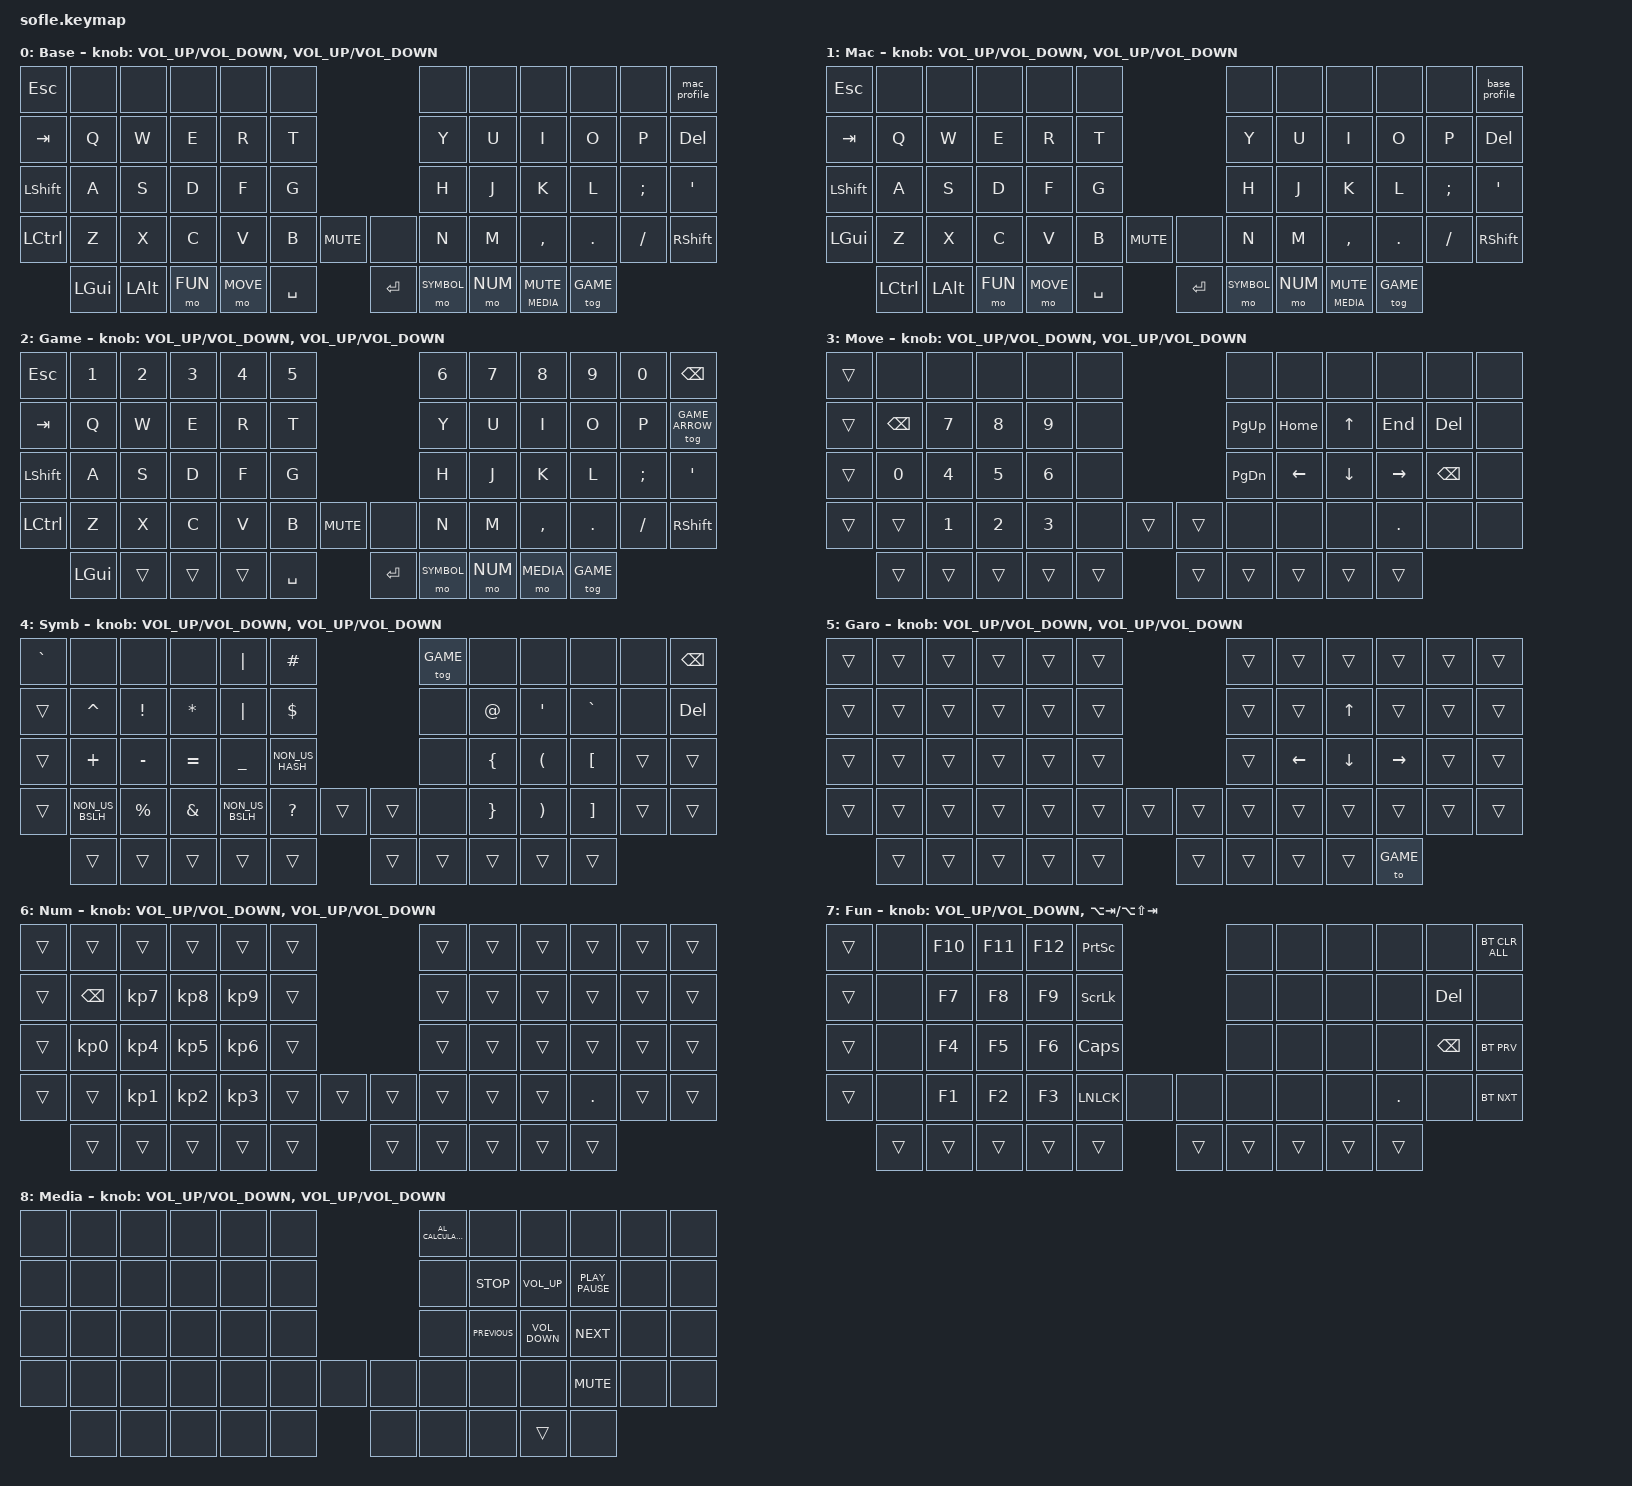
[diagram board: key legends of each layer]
/*
 * Copyright (c) 2020 The ZMK Contributors
 *
 * SPDX-License-Identifier: MIT
 */

#include <behaviors.dtsi>
#include <dt-bindings/zmk/keys.h>
#include <dt-bindings/zmk/bt.h>
#include <dt-bindings/zmk/rgb.h>
#include <dt-bindings/zmk/ext_power.h>

#define QWERTY     0
#define MAC        1
#define GAME       2
#define MOVE       3
#define SYMBOL     4
#define GAME_ARROW 5
#define NUM        6
#define FUN        7
#define MEDIA      8

/ {
    macros {
        mac_profile: mac_profile {
            compatible = "zmk,behavior-macro";
            #binding-cells = <0>;
            bindings
                = <&macro_tap &bt BT_SEL 1>
                , <&macro_tap &to MAC>
                ;
        };

        base_profile: base_profile {
            compatible = "zmk,behavior-macro";
            #binding-cells = <0>;
            bindings
                = <&macro_tap &bt BT_SEL 0>
                , <&macro_tap &to QWERTY>
                ;
        };
    };
};

&lt { tapping-term-ms = <50>; };


&nice_view_spi { cs-gpios = <&pro_micro 4 GPIO_ACTIVE_HIGH>; };

/ {
    combos {
        compatible = "zmk,combos";

        combo_ui {
            timeout-ms = <50>;
            key-positions = <19 20>;
            bindings = <&kp LG(GRAVE)>;
        };

        combo_df {
            timeout-ms = <50>;
            key-positions = <27 28>;
            bindings = <&kp RET>;
        };

        combo_jk {
            timeout-ms = <50>;
            key-positions = <31 32>;
            bindings = <&kp BSPC>;
        };

        combo_l_semi {
            timeout-ms = <50>;
            key-positions = <33 34>;
            bindings = <&kp DEL>;
        };
    };

    keymap {
        compatible = "zmk,keymap";

        qwerty_layer {
            display-name = "Base";
            bindings = <
&kp ESC    &none  &none     &none     &none           &none                                    &none       &none    &none             &none      &none     &mac_profile
&kp TAB    &kp Q  &kp W     &kp E     &kp R           &kp T                                    &kp Y       &kp U    &kp I             &kp O      &kp P     &kp DEL
&kp LSHFT  &kp A  &kp S     &kp D     &kp F           &kp G                                    &kp H       &kp J    &kp K             &kp L      &kp SEMI  &kp SQT
&kp LCTRL  &kp Z   &kp X     &kp C     &kp V           &kp B             &kp C_MUTE    &none    &kp N       &kp M    &kp COMMA         &kp DOT    &kp FSLH  &kp RSHFT
            &kp LGUI  &kp LALT  &mo FUN         &mo MOVE                  &kp SPACE     &kp RET  &mo SYMBOL  &mo NUM  &lt MEDIA K_MUTE  &tog GAME
            >;

            sensor-bindings =
                <&inc_dec_kp K_VOLUME_UP K_VOLUME_DOWN>,
                <&inc_dec_kp K_VOLUME_UP K_VOLUME_DOWN>;
        };

            mac_layer {
                display-name = "Mac";
                bindings = <
        &kp ESC    &none  &none     &none     &none           &none                                    &none       &none    &none             &none      &none     &base_profile
        &kp TAB    &kp Q  &kp W     &kp E     &kp R           &kp T                                    &kp Y       &kp U    &kp I             &kp O      &kp P     &kp DEL
        &kp LSHFT  &kp A  &kp S     &kp D     &kp F           &kp G                                    &kp H       &kp J    &kp K             &kp L      &kp SEMI  &kp SQT
        &kp LGUI   &kp Z  &kp X     &kp C     &kp V           &kp B             &kp C_MUTE    &none    &kp N       &kp M    &kp COMMA         &kp DOT    &kp FSLH  &kp RSHFT
                  &kp LCTRL &kp LALT  &mo FUN        &mo MOVE                 &kp SPACE     &kp RET  &mo SYMBOL  &mo NUM  &lt MEDIA K_MUTE  &tog GAME
                >;

                sensor-bindings =
                <&inc_dec_kp K_VOLUME_UP K_VOLUME_DOWN>,
                <&inc_dec_kp K_VOLUME_UP K_VOLUME_DOWN>;
            };

        game_layer {
            display-name = "Game";
            bindings = <
&kp ESC    &kp N1  &kp N2    &kp N3  &kp N4  &kp N5                         &kp N6      &kp N7   &kp N8     &kp N9     &kp N0    &kp BSPC
&kp TAB    &kp Q   &kp W     &kp E   &kp R   &kp T                          &kp Y       &kp U    &kp I      &kp O      &kp P     &tog GAME_ARROW
&kp LSHFT  &kp A   &kp S     &kp D   &kp F   &kp G                          &kp H       &kp J    &kp K      &kp L      &kp SEMI  &kp SQT
&kp LCTRL  &kp Z   &kp X     &kp C   &kp V   &kp B   &kp C_MUTE    &none    &kp N       &kp M    &kp COMMA  &kp DOT    &kp FSLH  &kp RSHFT
                   &kp LGUI  &trans  &trans  &trans  &kp SPACE     &kp RET  &mo SYMBOL  &mo NUM  &mo MEDIA  &tog GAME
            >;

            sensor-bindings =
                <&inc_dec_kp K_VOLUME_UP K_VOLUME_DOWN>,
                <&inc_dec_kp K_VOLUME_UP K_VOLUME_DOWN>;
        };

        move_layer {
            display-name = "Move";
            bindings = <
&trans  &none     &none   &none   &none   &none                     &none      &none     &none     &none      &none     &none
&trans  &kp BSPC  &kp N7  &kp N8  &kp N9  &none                     &kp PG_UP  &kp HOME  &kp UP    &kp END    &kp DEL   &none
&trans  &kp N0    &kp N4  &kp N5  &kp N6  &none                     &kp PG_DN  &kp LEFT  &kp DOWN  &kp RIGHT  &kp BSPC  &none
&trans  &trans    &kp N1  &kp N2  &kp N3  &none   &trans    &trans  &none      &none     &none     &kp DOT    &none     &none
                  &trans  &trans  &trans  &trans  &trans    &trans  &trans     &trans    &trans    &trans
            >;

            sensor-bindings =
                <&inc_dec_kp K_VOLUME_UP K_VOLUME_DOWN>,
                <&inc_dec_kp K_VOLUME_UP K_VOLUME_DOWN>;
        };

        symbol_layer {
            display-name = "Symb";
            bindings = <
&kp GRAVE  &none            &none      &none      &kp PIPE         &kp POUND                          &tog GAME  &none     &none     &none      &none   &kp BSPC
&trans     &kp CARET        &kp EXCL   &kp ASTRK  &kp PIPE         &kp DLLR                           &none      &kp AT    &kp SQT   &kp GRAVE  &none   &kp DEL
&trans     &kp PLUS         &kp MINUS  &kp EQUAL  &kp UNDER        &kp NON_US_HASH                    &none      &kp LBRC  &kp LPAR  &kp LBKT   &trans  &trans
&trans     &kp NON_US_BSLH  &kp PRCNT  &kp AMPS   &kp NON_US_BSLH  &kp QMARK        &trans    &trans  &none      &kp RBRC  &kp RPAR  &kp RBKT   &trans  &trans
                            &trans     &trans     &trans           &trans           &trans    &trans  &trans     &trans    &trans    &trans
            >;

            sensor-bindings =
                <&inc_dec_kp K_VOLUME_UP K_VOLUME_DOWN>,
                <&inc_dec_kp K_VOLUME_UP K_VOLUME_DOWN>;
        };

        game_arrow_layer {
            display-name = "Garo";
            bindings = <
&trans  &trans  &trans  &trans  &trans  &trans                    &trans  &trans    &trans    &trans     &trans  &trans
&trans  &trans  &trans  &trans  &trans  &trans                    &trans  &trans    &kp UP    &trans     &trans  &trans
&trans  &trans  &trans  &trans  &trans  &trans                    &trans  &kp LEFT  &kp DOWN  &kp RIGHT  &trans  &trans
&trans  &trans  &trans  &trans  &trans  &trans  &trans    &trans  &trans  &trans    &trans    &trans     &trans  &trans
                &trans  &trans  &trans  &trans  &trans    &trans  &trans  &trans    &trans    &to GAME
            >;

            sensor-bindings =
                <&inc_dec_kp K_VOLUME_UP K_VOLUME_DOWN>,
                <&inc_dec_kp K_VOLUME_UP K_VOLUME_DOWN>;
        };

        num_layer {
            display-name = "Num";
            bindings = <
&trans  &trans     &trans     &trans     &trans     &trans                    &trans  &trans  &trans  &trans   &trans  &trans
&trans  &kp BSPC   &kp KP_N7  &kp KP_N8  &kp KP_N9  &trans                    &trans  &trans  &trans  &trans   &trans  &trans
&trans  &kp KP_N0  &kp KP_N4  &kp KP_N5  &kp KP_N6  &trans                    &trans  &trans  &trans  &trans   &trans  &trans
&trans  &trans     &kp KP_N1  &kp KP_N2  &kp KP_N3  &trans  &trans    &trans  &trans  &trans  &trans  &kp DOT  &trans  &trans
                   &trans     &trans     &trans     &trans  &trans    &trans  &trans  &trans  &trans  &trans
            >;

            sensor-bindings =
                <&inc_dec_kp K_VOLUME_UP K_VOLUME_DOWN>,
                <&inc_dec_kp K_VOLUME_UP K_VOLUME_DOWN>;
        };

        fun_layer {
            display-name = "Fun";
            bindings = <
&trans  &none  &kp F10  &kp F11  &kp F12  &kp PSCRN                    &none   &none   &none   &none    &none     &bt BT_CLR_ALL
&trans  &none  &kp F7   &kp F8   &kp F9   &kp SLCK                     &none   &none   &none   &none    &kp DEL   &none
&trans  &none  &kp F4   &kp F5   &kp F6   &kp CLCK                     &none   &none   &none   &none    &kp BSPC  &bt BT_PRV
&trans  &none  &kp F1   &kp F2   &kp F3   &kp LNLCK  &none     &none   &none   &none   &none   &kp DOT  &none     &bt BT_NXT
               &trans   &trans   &trans   &trans     &trans    &trans  &trans  &trans  &trans  &trans
            >;

            sensor-bindings =
                <&inc_dec_kp K_VOLUME_UP K_VOLUME_DOWN>,
                <&inc_dec_kp LA(TAB) LA(LS(TAB))>;
        };

        media_layer {
            display-name = "Media";
            bindings = <
&none  &none  &none  &none  &none  &none                  &kp C_AL_CALCULATOR  &none           &none              &none             &none  &none
&none  &none  &none  &none  &none  &none                  &none                &kp K_STOP      &kp K_VOLUME_UP    &kp K_PLAY_PAUSE  &none  &none
&none  &none  &none  &none  &none  &none                  &none                &kp K_PREVIOUS  &kp K_VOLUME_DOWN  &kp K_NEXT        &none  &none
&none  &none  &none  &none  &none  &none  &none    &none  &none                &none           &none              &kp K_MUTE        &none  &none
              &none  &none  &none  &none  &none    &none  &none                &none           &trans             &none
            >;

            sensor-bindings =
                <&inc_dec_kp K_VOLUME_UP K_VOLUME_DOWN>,
                <&inc_dec_kp K_VOLUME_UP K_VOLUME_DOWN>;
        };
    };
};
